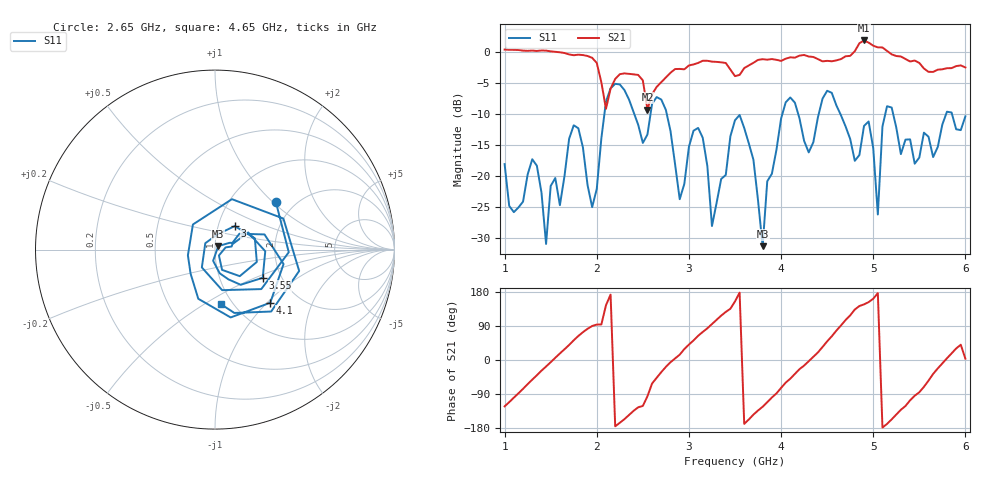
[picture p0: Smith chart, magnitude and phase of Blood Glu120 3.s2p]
! NanoVNA-App
! Date: 2024-03-20 23:51:48
! Start: 1GHz Stop: 6GHz Points: 101
! S-Parameter data: F S11 S21 S12 S22
# Hz S RI R 50
!	Frequency	S11_Real	S11_Imag	S21_Real	S21_Imag	S12_Real	S12_Imag	S22_Real	S22_Imag
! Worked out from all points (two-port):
!   101 points, 1 GHz to 6 GHz, reference 50 ohm
!   highest |S21| = 1.80 dB at 4.9 GHz (marker M1); lowest = -9.3 dB at 2.55 GHz (marker M2)
!   |S21| within 3 dB of the highest: start of sweep to 1.962 GHz; 4.65 GHz to 5.351 GHz (701.4 MHz wide, 14 % of centre)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
!   lowest |S11| = -31.3 dB at 3.8 GHz (marker M3), VSWR 1.06, Z = 51.8 + j2.05 ohm
!   |S11| at or under -10 dB: start of sweep to 2.083 GHz; 2.759 GHz to 4.015 GHz (1.256 GHz wide, 37.1 % of centre); 5.215 GHz to 5.792 GHz (576.7 MHz wide, 10.5 % of centre)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
!   S12 and S22 are empty: the file has one direction only
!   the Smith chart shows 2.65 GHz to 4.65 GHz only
!   S11 on the Smith chart (normalised r, x): 2.65 GHz: 1.61, +1.05; 3 GHz: 1.20, +0.32; 3.55 GHz: 1.61, -0.56; 4.1 GHz: 1.44, -1.05; 4.65 GHz: 0.88, -0.59
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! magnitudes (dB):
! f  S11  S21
! 1 GHz  -18.1  0.3
! 1.35 GHz  -18.4  0.1
! 1.45 GHz  -31.0  0.2
! 1.85 GHz  -15.5  -0.6
! 1.95 GHz  -25.1  -1.0
! 2.15 GHz  -5.9  -6.0
! 2.55 GHz  -13.4  -9.3
! 2.65 GHz  -7.3  -5.7
! 2.7 GHz  -7.7  -4.9
! 2.9 GHz  -23.8  -2.8
! 3 GHz  -15.3  -2.2
! 3.25 GHz  -28.1  -1.6
! 3.5 GHz  -11.1  -3.9
! 3.55 GHz  -10.2  -3.7
! 3.8 GHz  -31.3  -1.2
! 4.1 GHz  -7.4  -0.9
! 4.35 GHz  -14.6  -0.9
! 4.65 GHz  -10.3  -1.2
! 4.9 GHz  -12.0  1.8
! 5.05 GHz  -26.2  0.7
! 5.2 GHz  -9.0  -0.4
! 6 GHz  -10.4  -2.6
